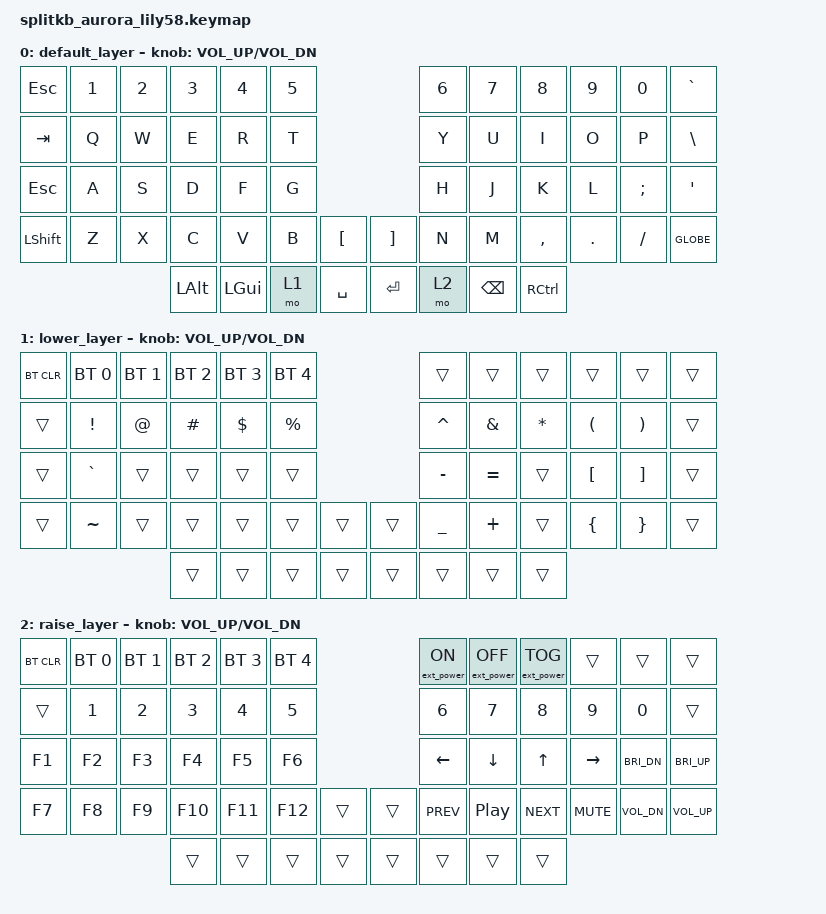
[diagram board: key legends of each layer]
/*
 * Copyright (c) 2022 The ZMK Contributors
 *
 * SPDX-License-Identifier: MIT
 */

#include <behaviors.dtsi>
#include <dt-bindings/zmk/keys.h>
#include <dt-bindings/zmk/bt.h>
#include <dt-bindings/zmk/ext_power.h>

/ {
    keymap {
        compatible = "zmk,keymap";

        default_layer {
// ------------------------------------------------------------------------------------------------------------
// |  ESC  |  1  |  2  |  3   |  4   |  5   |                   |  6   |  7    |  8   |  9   |   0   |   `   |
// |  TAB  |  Q  |  W  |  E   |  R   |  T   |                   |  Y   |  U    |  I   |  O   |   P   |   \   |
// |  ESC  |  A  |  S  |  D   |  F   |  G   |                   |  H   |  J    |  K   |  L   |   ;   |   '   |
// | SHIFT |  Z  |  X  |  C   |  V   |  B   |   "["  |  |  "]"  |  N   |  M    |  ,   |  .   |   /   | SHIFT |
//                     | ALT  | GUI  | LOWER|  SPACE |  | ENTER | RAISE| BSPC  | CTRL |
            bindings = <
&kp ESC   &kp N1 &kp N2 &kp N3   &kp N4   &kp N5                     &kp N6 &kp N7   &kp N8    &kp N9  &kp N0   &kp GRAVE
&kp TAB   &kp Q  &kp W  &kp E    &kp R    &kp T                      &kp Y  &kp U    &kp I     &kp O   &kp P    &kp BSLH
&kp ESC   &kp A  &kp S  &kp D    &kp F    &kp G                      &kp H  &kp J    &kp K     &kp L   &kp SEMI &kp SQT
&kp LSHFT &kp Z  &kp X  &kp C    &kp V    &kp B  &kp LBKT   &kp RBKT &kp N  &kp M    &kp COMMA &kp DOT &kp FSLH &kp GLOBE
                        &kp LALT &kp LGUI &mo 1  &kp SPACE  &kp RET  &mo 2  &kp BSPC &kp RCTRL
            >;

            sensor-bindings = <&inc_dec_kp C_VOL_UP C_VOL_DN>;
        };

        lower_layer {
// ------------------------------------------------------------------------------------------------------------
// |   |     |     |     |     |     |                   |       |     |     |     |     |   |
// |   |  !  |  @  |  #  |  $  |  %  |                   |  ^    |  &  |  *  |  (  |  )  |   |
// |   |  `  |     |     |     |     |                   |  -    |  =  |     |  [  |  ]  |   |
// |   |  ~  |     |     |     |     |        |  |       |  _    |  +  |     |  {  |  }  |   |
//                 |     |     |     |        |  |       |       |     |     |
            bindings = <
&bt BT_CLR &bt BT_SEL 0  &bt BT_SEL 1 &bt BT_SEL 2 &bt BT_SEL 3 &bt BT_SEL 4               &trans     &trans    &trans     &trans     &trans       &trans
&trans     &kp EXCL      &kp AT       &kp HASH     &kp DOLLAR   &kp PRCNT                  &kp CARET  &kp AMPS  &kp STAR   &kp LPAR   &kp RPAR     &trans
&trans     &kp GRAVE     &trans       &trans       &trans       &trans                     &kp MINUS  &kp EQUAL &trans     &kp LBKT   &kp RBKT     &trans
&trans     &kp TILDE     &trans       &trans       &trans       &trans       &trans &trans &kp UNDER  &kp PLUS  &trans     &kp LBRC   &kp RBRC     &trans
                                      &trans       &trans       &trans       &trans &trans &trans     &trans    &trans
            >;

            sensor-bindings = <&inc_dec_kp C_VOL_UP C_VOL_DN>;
        };

	raise_layer {
// ------------------------------------------------------------------------------------------------------------
// | BTCLR | BT1 | BT2 | BT3 | BT4 | BT5 |                   | EP_ON | EP_OFF | EP_TOG |      |        |        |
// | GLOBE |  1  |  2  |  3  |  4  |  5  |                   |  6    |   7    |   8    |  9   |   0    |        |
// |  F1   | F2  | F3  | F4  | F5  | F6  |                   |  <-   |   v    |   ^    |  ->  | BRI_DN | BRI_UP |
// |  F7   | F8  | F9  | F10 | F11 | F12 |        |  |       | PREV  |  PP    | NEXT   | MUTE | VOL_DN | VOL_UP |
//                     |     |     |     |        |  |       |       |        |        |
            bindings = <
&bt BT_CLR &bt BT_SEL 0  &bt BT_SEL 1 &bt BT_SEL 2 &bt BT_SEL 3 &bt BT_SEL 4                  &ext_power EP_ON &ext_power EP_OFF &ext_power EP_TOG &trans     &trans       &trans
&trans     &kp N1        &kp N2       &kp N3       &kp N4       &kp N5                        &kp N6           &kp N7            &kp N8            &kp N9     &kp N0       &trans
&kp F1     &kp F2        &kp F3       &kp F4       &kp F5       &kp F6                        &kp LEFT         &kp DOWN          &kp UP            &kp RIGHT  &kp C_BRI_DN &kp C_BRI_UP
&kp F7     &kp F8        &kp F9       &kp F10      &kp F11      &kp F12      &trans &trans    &kp C_PREV       &kp C_PP          &kp C_NEXT        &kp C_MUTE &kp C_VOL_DN &kp C_VOL_UP
                         &trans       &trans       &trans                    &trans &trans    &trans           &trans            &trans
            >;

            sensor-bindings = <&inc_dec_kp C_VOL_UP C_VOL_DN>;
        };
    };
};
